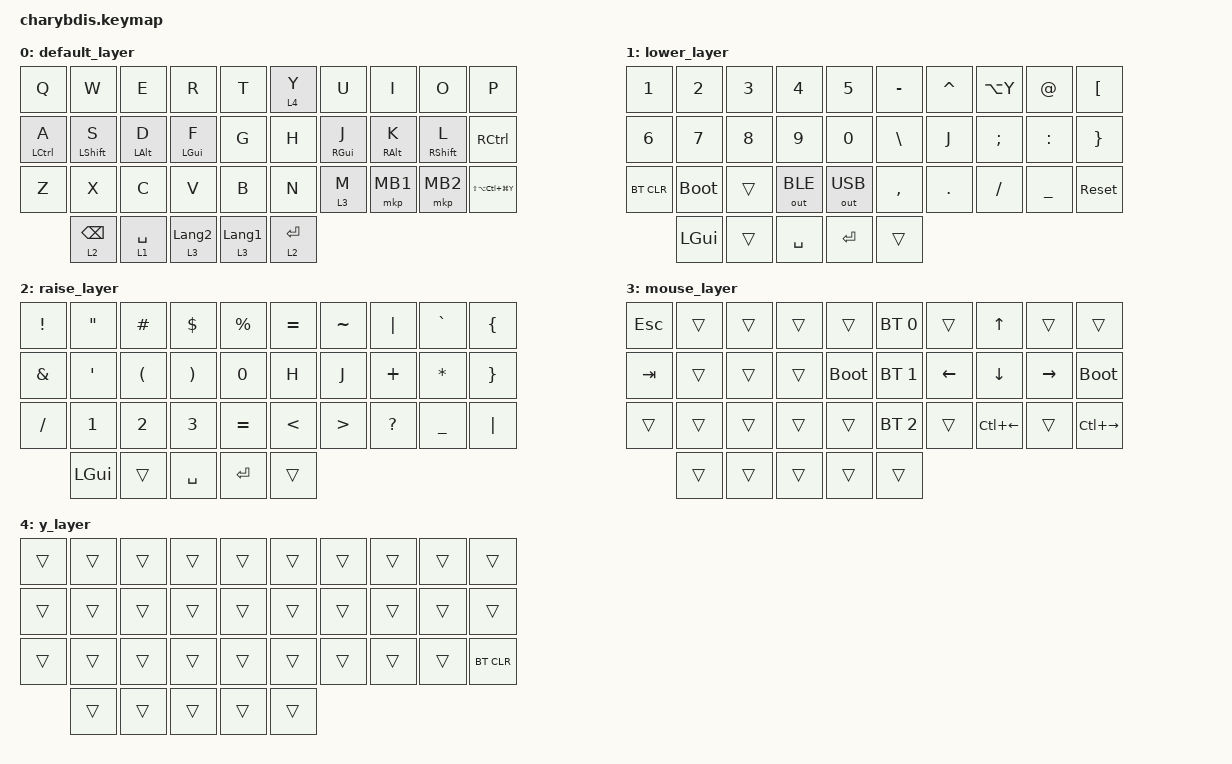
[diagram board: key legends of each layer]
#include <behaviors.dtsi>
#include <dt-bindings/zmk/bt.h>
#include <dt-bindings/zmk/keys.h>
#include <dt-bindings/zmk/pointing.h>
#include <dt-bindings/zmk/rgb.h>
#include <dt-bindings/zmk/outputs.h>


&lt {
    tapping-term-ms = <200>;
    flavor = "balanced";
    quick-tap-ms = <150>;
};

&mt {
    tapping-term-ms = <200>;
    flavor = "tap-preferred";
    quick-tap-ms = <150>;
    hold-trigger-on-release;
    retro-tap;
};

/ {
    macros {
        To1_macro: To1_macro {
            compatible = "zmk,behavior-macro";
            label = "To1_macro";
            #binding-cells = <0>;
            bindings = <&rgb_ug RGB_EFF &rgb_ug RGB_COLOR_HSB(128,100,50) &to 1>;
        };

        To0_macro: To0_macro {
            compatible = "zmk,behavior-macro";
            label = "To0_macro";
            #binding-cells = <0>;
            bindings = <&rgb_ug RGB_EFR &to 0>;
        };

        To2_macro: To2_macro {
            compatible = "zmk,behavior-macro";
            label = "To2_macro";
            #binding-cells = <0>;
            bindings =
                <&to 0>,
                <&macro_wait_time 30>,
                <&rgb_ug RGB_COLOR_HSB(250,100,50)>;
        };
    };

    keymap {
        compatible = "zmk,keymap";

        default_layer {
            bindings = <
&kp Q  &kp W  &kp E  &kp R  &kp T    &lt 4 Y  &kp U  &kp I  &kp O  &kp P
&mt LCTRL A  &mt LEFT_SHIFT S  &mt LEFT_ALT D  &mt LEFT_GUI F  &kp G    &kp H  &mt RIGHT_GUI J  &mt RIGHT_ALT K  &mt RIGHT_SHIFT L  &kp RCTRL
&kp Z  &kp X  &kp C  &kp V  &kp B    &kp N  &lt 3 M  &mkp MB1  &mkp MB2  &kp LS(LA(LC(LG(Y))))
            &lt 2 BACKSPACE  &lt 1 SPACE  &lt 3 LANGUAGE_2  &lt 3 LANGUAGE_1  &lt 2 ENTER
            >;
        };

        lower_layer {
            bindings = <
&kp N1  &kp N2  &kp N3  &kp N4  &kp N5    &kp MINUS  &kp CARET  &kp LA(Y)  &kp AT  &kp LBKT
&kp N6  &kp N7  &kp N8  &kp N9  &kp N0    &kp BACKSLASH  &kp J  &kp SEMICOLON  &kp COLON  &kp RBRC
&bt BT_CLR  &bootloader  &trans  &out OUT_BLE  &out OUT_USB    &kp COMMA  &kp DOT  &kp SLASH  &kp UNDERSCORE  &sys_reset
            &kp LGUI  &trans  &kp SPACE  &kp ENTER  &trans
            >;
        };

        raise_layer {
            bindings = <
&kp EXCL  &kp DQT  &kp HASH  &kp DLLR  &kp PRCNT    &kp EQUAL  &kp TILDE  &kp PIPE  &kp GRAVE  &kp LBRC
&kp AMPS  &kp SQT  &kp LPAR  &kp RPAR  &kp N0    &kp H  &kp J  &kp PLUS  &kp ASTRK  &kp RBRC
&kp SLASH  &kp N1  &kp N2  &kp N3  &kp EQUAL    &kp LT  &kp GT  &kp QMARK  &kp UNDER  &kp PIPE
            &kp LGUI  &trans  &kp SPACE  &kp ENTER  &trans
            >;
        };

        mouse_layer {
            bindings = <
&kp ESC  &trans  &trans  &trans  &trans    &bt BT_SEL 0  &trans  &kp UP  &trans  &trans
&kp TAB  &trans  &trans  &trans  &bootloader    &bt BT_SEL 1  &kp LEFT  &kp DOWN  &kp RIGHT  &bootloader
&trans   &trans  &trans  &trans  &trans    &bt BT_SEL 2  &trans  &kp LC(LEFT)  &trans  &kp LC(RIGHT)
            &trans  &trans  &trans  &trans  &trans
            >;
        };

        y_layer {
            bindings = <
&trans  &trans  &trans  &trans  &trans    &trans  &trans  &trans  &trans  &trans
&trans  &trans  &trans  &trans  &trans    &trans  &trans  &trans  &trans  &trans
&trans  &trans  &trans  &trans  &trans    &trans  &trans  &trans  &trans  &bt BT_CLR
            &trans  &trans  &trans  &trans  &trans
            >;
        };
    };
};
